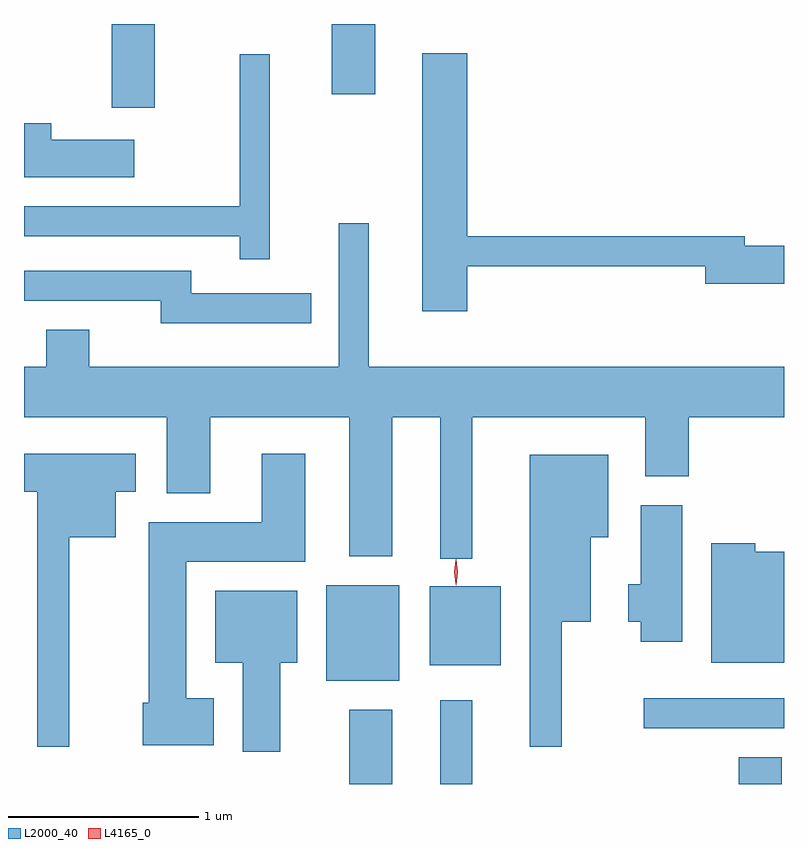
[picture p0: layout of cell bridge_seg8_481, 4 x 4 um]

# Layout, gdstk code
import gdstk
lib = gdstk.Library(unit=1e-6, precision=1e-09)
def R(c, l, rs):  # rectangles x0, y0, x1, y1
    for r in rs: c.add(gdstk.rectangle(r[:2], r[2:], *l))
def P(c, l, *ps):  # polygons
    for p in ps: c.add(gdstk.Polygon(p, *l))
L2000_40 = (2000, 40)
L4165_0 = (4165, 0)

bridge_seg8_481 = lib.new_cell('bridge_seg8_481')
R(bridge_seg8_481, L2000_40, [(228.191,1876.667,228.419,1877.059), (228.671,1876.667,228.839,1877.108), (230.241,1876.667,230.469,1876.809), (229.743,1876.961,230.48,1877.119), (228.071,1877.211,228.454,1877.714), (228.616,1877.291,228.989,1877.709), (226.941,1880.226,227.169,1880.667), (228.101,1880.296,228.329,1880.667)])
P(bridge_seg8_481, L2000_40, [(228.814,1879.391),(230.066,1879.391),(230.066,1879.301),(230.48,1879.301),(230.48,1879.499),(230.274,1879.499),(230.274,1879.549),(228.814,1879.549),(228.814,1880.514),(228.576,1880.514),(228.576,1879.156),(228.814,1879.156)],
  [(227.774,1880.508),(227.616,1880.508),(227.616,1879.709),(226.48,1879.709),(226.48,1879.551),(227.616,1879.551),(227.616,1879.428),(227.774,1879.428)],
  [(227.059,1880.059),(226.624,1880.059),(226.624,1880.144),(226.48,1880.144),(226.48,1879.861),(227.059,1879.861)],
  [(227.993,1879.249),(227.359,1879.249),(227.359,1879.369),(226.48,1879.369),(226.48,1879.211),(227.201,1879.211),(227.201,1879.091),(227.993,1879.091)],
  [(228.294,1879.618),(228.136,1879.618),(228.136,1878.864),(226.824,1878.864),(226.824,1879.059),(226.596,1879.059),(226.596,1878.864),(226.48,1878.864),(226.48,1878.596),(227.231,1878.596),(227.231,1878.196),(227.459,1878.196),(227.459,1878.596),(228.191,1878.596),(228.191,1877.866),(228.419,1877.866),(228.419,1878.596),(228.671,1878.596),(228.671,1877.853),(228.839,1877.853),(228.839,1878.596),(229.751,1878.596),(229.751,1878.286),(229.979,1878.286),(229.979,1878.596),(230.48,1878.596),(230.48,1878.864),(228.294,1878.864)],
  [(226.719,1877.966),(226.964,1877.966),(226.964,1878.206),(227.069,1878.206),(227.069,1878.404),(226.48,1878.404),(226.48,1878.206),(226.551,1878.206),(226.551,1876.863),(226.719,1876.863)],
  [(227.479,1877.119),(227.334,1877.119),(227.334,1877.836),(227.959,1877.836),(227.959,1878.404),(227.731,1878.404),(227.731,1878.044),(227.136,1878.044),(227.136,1877.094),(227.106,1877.094),(227.106,1876.871),(227.479,1876.871)],
  [(229.309,1877.521),(229.464,1877.521),(229.464,1877.966),(229.554,1877.966),(229.554,1878.399),(229.141,1878.399),(229.141,1876.863),(229.309,1876.863)],
  [(229.944,1878.134),(229.726,1878.134),(229.726,1877.719),(229.661,1877.719),(229.661,1877.521),(229.726,1877.521),(229.726,1877.416),(229.944,1877.416)],
  [(230.48,1877.889),(230.329,1877.889),(230.329,1877.934),(230.096,1877.934),(230.096,1877.306),(230.48,1877.306)],
  [(227.829,1877.306),(227.919,1877.306),(227.919,1877.684),(227.486,1877.684),(227.486,1877.306),(227.631,1877.306),(227.631,1876.836),(227.829,1876.836)])
P(bridge_seg8_481, L4165_0, [(228.754,1877.714),(228.754,1877.714),(228.744,1877.782),(228.754,1877.85),(228.754,1877.85),(228.755,1877.85),(228.764,1877.782),(228.755,1877.714)],
  [(228.753,1877.718),(228.753,1877.718),(228.744,1877.782),(228.753,1877.846),(228.753,1877.847),(228.754,1877.846),(228.763,1877.782),(228.754,1877.718)])

lib.write_gds('bridge_seg8_481.gds')
